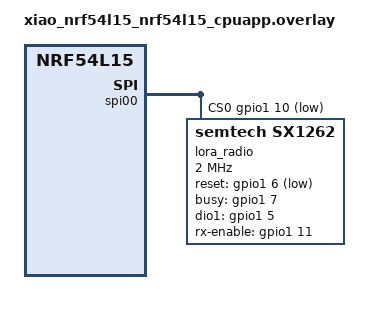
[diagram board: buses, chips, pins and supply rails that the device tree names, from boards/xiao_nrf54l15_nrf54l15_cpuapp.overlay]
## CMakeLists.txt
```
# SPDX-License-Identifier: Apache-2.0

cmake_minimum_required(VERSION 3.20.0)

find_package(Zephyr REQUIRED HINTS $ENV{ZEPHYR_BASE})
project(lora_secure_p2p)

#
# Board Role Configuration
# Set BOARD_ROLE at build time to select device role:
#   Numeric values:   -DBOARD_ROLE=1 (PING) or -DBOARD_ROLE=2 (PONG)
#   Symbolic names:   -DBOARD_ROLE=ROLE_PING or -DBOARD_ROLE=ROLE_PONG
#
# Without sysbuild: west build --no-sysbuild -d build_ping -- -DBOARD_ROLE=1
# With sysbuild:    west build -d build_ping -- -Dlora_secure_p2p_BOARD_ROLE=1
#
# Try to get from sysbuild namespace first (available after find_package)
if(SYSBUILD)
    zephyr_get(BOARD_ROLE SYSBUILD GLOBAL)
endif()

# Convert symbolic names to numeric values for preprocessor compatibility
if(DEFINED BOARD_ROLE AND NOT "${BOARD_ROLE}" STREQUAL "")
    # Convert symbolic role names to numeric values
    if(BOARD_ROLE STREQUAL "ROLE_PING")
        set(BOARD_ROLE_VALUE 1)
        set(BOARD_ROLE_NAME "PING")
    elseif(BOARD_ROLE STREQUAL "ROLE_PONG")
        set(BOARD_ROLE_VALUE 2)
        set(BOARD_ROLE_NAME "PONG")
    elseif(BOARD_ROLE STREQUAL "1")
        set(BOARD_ROLE_VALUE 1)
        set(BOARD_ROLE_NAME "PING")
    elseif(BOARD_ROLE STREQUAL "2")
        set(BOARD_ROLE_VALUE 2)
        set(BOARD_ROLE_NAME "PONG")
    else()
        message(FATAL_ERROR "Invalid BOARD_ROLE: ${BOARD_ROLE}. Must be ROLE_PING, ROLE_PONG, 1, or 2")
    endif()

    message(STATUS "Board role set to: ${BOARD_ROLE_NAME} (BOARD_ROLE=${BOARD_ROLE_VALUE})")
    add_compile_definitions(BOARD_ROLE=${BOARD_ROLE_VALUE})
else()
    message(STATUS "Board role not specified, using default from app_config.h (ROLE_PONG)")
endif()

# Main application
target_sources(app PRIVATE src/main.c)

# Crypto modules
target_sources(app PRIVATE
    src/crypto/crypto_init.c
    src/crypto/aes_ccm.c
    src/crypto/ecdh.c
    src/crypto/key_storage.c
)

# Protocol modules
target_sources(app PRIVATE
    src/protocol/message.c
    src/protocol/security.c
    src/protocol/statistics.c
)

# LoRa modules
target_sources(app PRIVATE
    src/lora/lora_hal.c
    src/lora/lora_transport.c
)

# Application modules
target_sources(app PRIVATE
    src/app/ping_mode.c
    src/app/pong_mode.c
)
```

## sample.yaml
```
sample:
  name: LoRa Secure P2P Communication
tests:
  sample.lora.secure_p2p:
    tags:
      - LoRa
      - SPI
      - crypto
    depends_on: spi gpio
    integration_platforms:
      - xiao_nrf54l15/nrf54l15/cpuapp
```

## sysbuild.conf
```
# Sysbuild Configuration for FOTA with MCUboot
# Project: LoRa P2P Encrypted Communication with FOTA
# Board: Seeed XIAO nRF54L15

# ==============================================================================
# MCUboot Bootloader Configuration
# ==============================================================================

# Enable MCUboot as the bootloader
SB_CONFIG_BOOTLOADER_MCUBOOT=y

# ==============================================================================
# nRF54L15-Specific Settings
# ==============================================================================

# CRITICAL: nRF54L15 requires larger MCUboot pad (0x800 instead of default 0x200)
# This is due to the RRAM sector size and alignment requirements
SB_CONFIG_PM_MCUBOOT_PAD=0x800

# ==============================================================================
# Signature Verification with Hardware KMU
# ==============================================================================

# Use ED25519 signature algorithm (ECC, smaller signatures than RSA)
SB_CONFIG_BOOT_SIGNATURE_TYPE_ED25519=y

# Use pure signature format (not ECDSA)
SB_CONFIG_BOOT_SIGNATURE_TYPE_PURE=y

# Enable KMU (Key Management Unit) for hardware-based signature verification
# The public key will be stored in the hardware KMU for secure boot
SB_CONFIG_MCUBOOT_SIGNATURE_USING_KMU=y

# ==============================================================================
# Image Signing Configuration
# ==============================================================================

# Path to signing key (relative to this project directory)
# Generate your own key:  imgtool keygen -k mcuboot_signing_key.pem -t ed25519
SB_CONFIG_BOOT_SIGNATURE_KEY_FILE="mcuboot_signing_key.pem"

# ==============================================================================
# Automatic KMU Keyfile Generation
# ==============================================================================

# ⚠️ IMPORTANT: This generates keyfile.json but does NOT auto-provision KMU!
#
# What this config does:
#   ✅ Auto-generates build_ping/keyfile.json from mcuboot_signing_key.pem
#   ❌ Does NOT automatically provision KMU (requires separate step)
#
# Why: The `--recover` flag only works with nrfjprog runner (J-Link hardware).
# The Seeed XIAO nRF54L15 uses CMSIS-DAP, not J-Link.
#
# KMU Provisioning Options:
#   1. Test nrfutil with CMSIS-DAP (experimental - see FOTA_SETUP.md)
#   2. Use J-Link probe for provisioning (Nordic-tested method)
#   3. Use Tigard debugger (requires OpenOCD, limited UICR support)

# Enable automatic KMU keyfile generation during build
SB_CONFIG_MCUBOOT_GENERATE_DEFAULT_KMU_KEYFILE=y

# ==============================================================================
# MCUboot Partition Size
# ==============================================================================

# Note: MCUboot partition size (64KB at 0x0) is defined in device tree
# (xiao_nrf54l15_nrf54l15_cpuapp.dts), no additional configuration needed here

# ==============================================================================
# Optional: Advanced Features (Commented out by default)
# ==============================================================================

# Uncomment to enable key revocation (prevents using compromised keys)
# SB_CONFIG_BOOT_KMU_KEYS_REVOCATION=y

# Uncomment to use external flash for secondary image slot
# SB_CONFIG_PM_EXTERNAL_FLASH_MCUBOOT_SECONDARY=y

# Uncomment for MCUboot direct-xip mode (no swap, faster boot)
# Note: Cannot use with image encryption
# SB_CONFIG_MCUBOOT_MODE_DIRECT_XIP=y

# Uncomment for hardware downgrade prevention (monotonic counter)
# SB_CONFIG_MCUBOOT_HW_DOWNGRADE_PREVENTION=y
# SB_CONFIG_MCUBOOT_HW_DOWNGRADE_PREVENTION_COUNTER_SLOTS=2
# SB_CONFIG_MCUBOOT_HW_DOWNGRADE_PREVENTION_COUNTER_VALUE=1
```

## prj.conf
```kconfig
# GPIO Configuration
CONFIG_GPIO=y

# SPI Configuration - Core Support
CONFIG_SPI=y
CONFIG_SPI_NRFX=y
CONFIG_SPI_INIT_PRIORITY=70

# EasyDMA requires RAM buffers (flash-based buffers won't work)
# SPI_NRFX_SPIM and NRFX_SPIM00 are automatically selected based on device tree
CONFIG_SPI_NRFX_RAM_BUFFER_SIZE=256

# LoRa Driver Support - Semtech SX126x family
CONFIG_LORA=y
CONFIG_LORA_SX126X=y

# Logging Configuration
CONFIG_LOG=y
CONFIG_LOG_MODE_IMMEDIATE=y
CONFIG_PRINTK=y
CONFIG_CONSOLE=y

# UART/USB Serial Console Configuration (default for terminal logging)
CONFIG_LOG_BACKEND_UART=y
CONFIG_UART_CONSOLE=y

# Disable RTT by default so logs are visible in a serial terminal.
# Re-enable these for J-Link RTT debugging if needed.
CONFIG_USE_SEGGER_RTT=n
CONFIG_RTT_CONSOLE=n
CONFIG_LOG_BACKEND_RTT=n

# Production logging levels (INFO for important events, WARNING for errors)
# For verbose debug logging, build with: west build ... -- -DEXTRA_CONF_FILE=debug.conf
CONFIG_SPI_LOG_LEVEL_INF=y
CONFIG_LORA_LOG_LEVEL_INF=y
CONFIG_GPIO_LOG_LEVEL_WRN=y

# Enhanced debugging configuration
# Note: LOG_BUFFER_SIZE only applies to LOG_MODE_DEFERRED, not LOG_MODE_IMMEDIATE
# Note: DIO1 interrupt mode is automatically enabled by driver when dio1-gpios is present in devicetree

# Shell is debug-only; enabled in debug.conf to reduce production attack surface.

# Kernel Configuration - Increased for LoRa driver interrupt handling
CONFIG_HEAP_MEM_POOL_SIZE=4096
# Main stack size: 8192 bytes required for PSA Crypto ECDH + HKDF operations
# Based on Nordic nRF Connect SDK v2.8.0+ recommendations for nRF54L15
# CRACEN hardware acceleration requires significant stack during key derivation
CONFIG_MAIN_STACK_SIZE=8192

# System workqueue stack size - CRITICAL for LoRa DIO1 interrupt processing
# Default is too small, causes stack overflow when handling SX1262 interrupts
CONFIG_SYSTEM_WORKQUEUE_STACK_SIZE=2048

# Random Number Generator - Required for jitter functionality
# nRF54L15 uses CRACEN-based RNG, configured automatically via devicetree
# The PSA crypto RNG driver (CONFIG_ENTROPY_PSA_CRYPTO_RNG) is auto-enabled
CONFIG_ENTROPY_GENERATOR=y

# ============================================================================
# PSA Crypto API & Hardware Acceleration (Phase 1: AES-CCM Foundation)
# ============================================================================

# Nordic Security Backend - Provides PSA Crypto API implementation
CONFIG_NRF_SECURITY=y
CONFIG_MBEDTLS_PSA_CRYPTO_C=y

# Heap Configuration for mbedTLS (required for PSA operations)
CONFIG_MBEDTLS_ENABLE_HEAP=y
CONFIG_MBEDTLS_HEAP_SIZE=16384

# CRACEN Hardware Crypto Accelerator (nRF54L15 only)
# Provides ~10-15x performance improvement vs software crypto
CONFIG_PSA_CRYPTO_DRIVER_CRACEN=y
CONFIG_PSA_CRYPTO_DRIVER_OBERON=n  # Disable software fallback for debugging

# AES Algorithm Support (Authenticated Encryption with Associated Data)
CONFIG_PSA_WANT_KEY_TYPE_AES=y
CONFIG_PSA_WANT_ALG_CCM=y           # AES-CCM mode (encryption + authentication)
CONFIG_PSA_WANT_AES_KEY_SIZE_128=y  # 128-bit keys

# Random Number Generation for Cryptographic Operations
CONFIG_PSA_WANT_GENERATE_RANDOM=y

# ============================================================================
# Phase 2: Elliptic Curve Cryptography (ECC) for ECDH Key Exchange
# ============================================================================

# ECC Key Types and Algorithms
CONFIG_PSA_WANT_KEY_TYPE_ECC_KEY_PAIR_GENERATE=y
CONFIG_PSA_WANT_KEY_TYPE_ECC_KEY_PAIR_IMPORT=y
CONFIG_PSA_WANT_KEY_TYPE_ECC_KEY_PAIR_EXPORT=y
CONFIG_PSA_WANT_KEY_TYPE_ECC_PUBLIC_KEY=y
CONFIG_PSA_WANT_ALG_ECDH=y

# Curve25519 (Montgomery curve for X25519 ECDH)
CONFIG_PSA_WANT_ECC_MONTGOMERY_255=y

# Key Derivation Function (for deriving session keys from shared secret)
CONFIG_PSA_WANT_ALG_HMAC=y      # Required by HKDF
CONFIG_PSA_WANT_ALG_HKDF=y
CONFIG_PSA_WANT_ALG_SHA_256=y   # Required by HKDF

# ============================================================================
# Phase 3: KMU (Key Management Unit) and Persistent Key Storage
# ============================================================================

# Persistent Key Storage
CONFIG_MBEDTLS_PSA_CRYPTO_STORAGE_C=y

# Trusted Storage (Internal Trusted Storage)
CONFIG_TRUSTED_STORAGE=y
CONFIG_PSA_INTERNAL_TRUSTED_STORAGE=y

# Hardware Unique Key (HUK) for key encryption
CONFIG_HW_UNIQUE_KEY=y
CONFIG_HW_UNIQUE_KEY_RANDOM=y

# Settings Subsystem (for persistent data)
CONFIG_SETTINGS=y
CONFIG_ZMS=y           # Enable ZMS subsystem (required by SETTINGS_ZMS)
CONFIG_SETTINGS_ZMS=y  # Zephyr Memory Storage (for nRF54L15)

# Flash Support (required for persistent storage)
CONFIG_FLASH=y
CONFIG_FLASH_MAP=y

# KMU Configuration (Key Management Unit hardware)
CONFIG_CRACEN_LIB_KMU=y
CONFIG_CRACEN_PROVISION_PROT_RAM_INV_DATA=y
CONFIG_CRACEN_IKG=y
CONFIG_CRACEN_IKG_SEED_LOAD=y

# Note: Persistent keys will be stored with HUK encryption for security

# ============================================================================
# MCUboot Bootloader Support (for FOTA Updates)
# ============================================================================

# MCUboot compatibility marker - signals that this app is designed to run with MCUboot
# ⚠️ IMPORTANT: Comment this out when building without MCUboot (--no-sysbuild)
# CONFIG_BOOTLOADER_MCUBOOT=y

# Note: Two build modes are supported:
#
# 1. WITH MCUboot + FOTA (requires J-Link for KMU provisioning):
#    - Uncomment CONFIG_BOOTLOADER_MCUBOOT=y above
#    - Build command: west build ... -DEXTRA_CONF_FILE="overlay-bt-dfu.conf"
#    - See FOTA_SETUP.md for KMU provisioning instructions
#
# 2. WITHOUT MCUboot (no FOTA, works with CMSIS-DAP):
#    - Keep CONFIG_BOOTLOADER_MCUBOOT=y commented out (as shown above)
#    - Build command: west build --no-sysbuild ... -DEXTRA_CONF_FILE="overlay-bt-no-fota.conf"
#    - See Build_&_Flash.md for build/flash instructions
```

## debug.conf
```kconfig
# Debug Mode Configuration
# ===========================
# This file enables verbose debug logging for troubleshooting.
#
# To build with debug mode:
#   west build -b seeed_xiao_nrf54l15/nrf54l15/cpuapp . -- -DEXTRA_CONF_FILE=debug.conf
#   west flash
#
# To return to production mode (fast, clean logs):
#   west build -b seeed_xiao_nrf54l15/nrf54l15/cpuapp .
#   west flash

# Enable verbose debug logging for all LoRa-related subsystems
CONFIG_SPI_LOG_LEVEL_DBG=y
CONFIG_LORA_LOG_LEVEL_DBG=y
CONFIG_GPIO_LOG_LEVEL_DBG=y

# Enable application-level debug monitoring features
# This activates DIO1 interrupt counting, BUSY pin monitoring, and timing measurements
# CONFIG_LORA_DEBUG_MONITORING is only valid if provided by the active LoRa driver Kconfig.

# Debug shell interfaces
CONFIG_SHELL=y
CONFIG_LORA_SHELL=y
CONFIG_DEVICE_SHELL=y
```

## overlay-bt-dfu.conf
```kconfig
# Bluetooth + FOTA Overlay Configuration
# Project: LoRa P2P Encrypted Communication with FOTA
# Board: Seeed XIAO nRF54L15
#
# This overlay adds Bluetooth Low Energy and FOTA capabilities to the application.
# Use this overlay when building firmware that supports over-the-air updates.

# ==============================================================================
# Bluetooth Core Configuration
# ==============================================================================

CONFIG_BT=y
CONFIG_BT_PERIPHERAL=y

# Device name shown during Bluetooth scanning
CONFIG_BT_DEVICE_NAME="LoRa_P2P_FOTA"

# Allow device name to be readable without pairing
CONFIG_BT_DEVICE_NAME_GATT_WRITABLE=n

# ==============================================================================
# Nordic MCUmgr BT OTA DFU Module (Quick Start)
# ==============================================================================

# This single option enables a complete FOTA solution including:
# - SMP (Simple Management Protocol) over Bluetooth
# - Image management handlers
# - OS management handlers (reboot)
# - Settings partition erase
# - Optimized Bluetooth buffers for fast transfer
CONFIG_NCS_SAMPLE_MCUMGR_BT_OTA_DFU=y

# Enable speedup optimizations (larger Bluetooth packets, faster FOTA)
CONFIG_NCS_SAMPLE_MCUMGR_BT_OTA_DFU_SPEEDUP=y

# ==============================================================================
# Security: Require Authentication for SMP Access
# ==============================================================================

# IMPORTANT: Require Bluetooth pairing before allowing FOTA updates
# Without this, anyone can flash firmware to your device over Bluetooth!
CONFIG_MCUMGR_TRANSPORT_BT_PERM_RW_AUTHEN=y

# Enable pairing/bonding support
CONFIG_BT_SMP=y
CONFIG_BT_BONDABLE=y

# NOTE: Security level (1-4) is set at RUNTIME via bt_conn_set_security()
#       There is no Kconfig option for default security level.
#       Your application can call bt_conn_set_security(conn, BT_SECURITY_L3)
#       to require authenticated pairing with encryption.

# ==============================================================================
# Stack Size Adjustments for BT + MCUmgr + LoRa
# ==============================================================================

# Increase main thread stack (Bluetooth + LoRa + Crypto operations)
CONFIG_MAIN_STACK_SIZE=8192

# Increase system workqueue stack (MCUmgr operations + BT events)
CONFIG_SYSTEM_WORKQUEUE_STACK_SIZE=4096

# Increase idle stack for cleanup operations
CONFIG_IDLE_STACK_SIZE=1024

# ==============================================================================
# Bluetooth Connection Parameters (Optional - Defaults are Good)
# ==============================================================================

# NOTE: These parameters are connection interval preferences.
#       Values are in 1.25ms units (e.g., 6 = 7.5ms, 40 = 50ms)
#       Zephyr defaults: min=24 (30ms), max=40 (50ms), latency=0, timeout=42 (420ms)
#       Faster intervals = faster FOTA but higher power consumption.

# Uncomment for faster connection intervals (7.5ms - 15ms):
# CONFIG_BT_PERIPHERAL_PREF_MIN_INT=6
# CONFIG_BT_PERIPHERAL_PREF_MAX_INT=12
# CONFIG_BT_PERIPHERAL_PREF_LATENCY=0
# CONFIG_BT_PERIPHERAL_PREF_TIMEOUT=40

# ==============================================================================
# Bluetooth Advertising
# ==============================================================================

# NOTE: Advertising is automatically enabled when CONFIG_BT_PERIPHERAL=y
#       Advertising intervals are set at RUNTIME via bt_le_adv_start()
#       There are NO Kconfig options for advertising intervals.

# ==============================================================================
# Memory Optimization
# ==============================================================================

# Optimize heap size for BT + MCUmgr
CONFIG_HEAP_MEM_POOL_SIZE=16384

# Number of Bluetooth connections (1 for FOTA client)
CONFIG_BT_MAX_CONN=1

# ==============================================================================
# Optional: MCUmgr Shell Transport (Commented out by default)
# ==============================================================================

# Uncomment to enable FOTA over shell/UART (for debugging)
# CONFIG_MCUMGR_TRANSPORT_SHELL=y

# ==============================================================================
# Logging Adjustments
# ==============================================================================

# Reduce Bluetooth log spam (keep warnings and errors only)
CONFIG_BT_LOG_LEVEL_WRN=y

# Enable MCUmgr logging for debugging FOTA issues
CONFIG_MCUMGR_LOG_LEVEL_INF=y

# ==============================================================================
# Settings Storage (Already configured in main prj.conf)
# ==============================================================================

# Settings are required for MCUmgr to work properly
# Your project already has CONFIG_SETTINGS=y and CONFIG_ZMS=y
# No additional configuration needed here
```

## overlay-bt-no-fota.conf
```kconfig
# Bluetooth Overlay Configuration (Without FOTA)
# Project: LoRa P2P Encrypted Communication
# Board: Seeed XIAO nRF54L15
#
# This overlay adds Bluetooth Low Energy WITHOUT FOTA/MCUboot support.
# Use this for immediate testing when J-Link hardware is not available.
#
# Build command: west build --no-sysbuild ... -DEXTRA_CONF_FILE="overlay-bt-no-fota.conf"

# ==============================================================================
# Bluetooth Core Configuration
# ==============================================================================

CONFIG_BT=y
CONFIG_BT_PERIPHERAL=y

# Device name shown during Bluetooth scanning
CONFIG_BT_DEVICE_NAME="LoRa_P2P"

# Allow device name to be readable without pairing
CONFIG_BT_DEVICE_NAME_GATT_WRITABLE=n

# ==============================================================================
# Security: Pairing and Bonding Support
# ==============================================================================

# Enable pairing/bonding support for secure connections
CONFIG_BT_SMP=y
CONFIG_BT_BONDABLE=y

# NOTE: Security level (1-4) is set at RUNTIME via bt_conn_set_security()
#       Your application can call bt_conn_set_security(conn, BT_SECURITY_L3)
#       to require authenticated pairing with encryption.

# ==============================================================================
# Stack Size Adjustments for BT + LoRa + Crypto
# ==============================================================================

# Increase main thread stack (Bluetooth + LoRa + Crypto operations)
# Already set in prj.conf to 8192, but we override here for clarity
CONFIG_MAIN_STACK_SIZE=8192

# Increase system workqueue stack (BT events + LoRa DIO1 interrupts)
CONFIG_SYSTEM_WORKQUEUE_STACK_SIZE=4096

# Increase idle stack for cleanup operations
CONFIG_IDLE_STACK_SIZE=1024

# ==============================================================================
# Memory Optimization
# ==============================================================================

# Optimize heap size for BT + LoRa + Crypto
CONFIG_HEAP_MEM_POOL_SIZE=16384

# Number of Bluetooth connections (1 for testing with phone)
CONFIG_BT_MAX_CONN=1

# ==============================================================================
# Bluetooth Connection Parameters (Optional - Defaults are Good)
# ==============================================================================

# NOTE: These parameters are connection interval preferences.
#       Values are in 1.25ms units (e.g., 6 = 7.5ms, 40 = 50ms)
#       Zephyr defaults: min=24 (30ms), max=40 (50ms), latency=0, timeout=42 (420ms)

# Uncomment for faster connection intervals (7.5ms - 15ms):
# CONFIG_BT_PERIPHERAL_PREF_MIN_INT=6
# CONFIG_BT_PERIPHERAL_PREF_MAX_INT=12
# CONFIG_BT_PERIPHERAL_PREF_LATENCY=0
# CONFIG_BT_PERIPHERAL_PREF_TIMEOUT=40

# ==============================================================================
# Bluetooth Advertising
# ==============================================================================

# NOTE: Advertising is automatically enabled when CONFIG_BT_PERIPHERAL=y
#       Advertising intervals are set at RUNTIME via bt_le_adv_start()
#       There are NO Kconfig options for advertising intervals.

# ==============================================================================
# Logging Adjustments
# ==============================================================================

# Reduce Bluetooth log spam (keep warnings and errors only)
CONFIG_BT_LOG_LEVEL_WRN=y

# ==============================================================================
# What's NOT Included (Compared to overlay-bt-dfu.conf)
# ==============================================================================
#
# This overlay does NOT include:
# - MCUmgr (Simple Management Protocol)
# - FOTA/DFU support
# - CONFIG_NCS_SAMPLE_MCUMGR_BT_OTA_DFU
# - Image management
#
# These features require MCUboot bootloader and KMU provisioning (J-Link).
# Use overlay-bt-dfu.conf when J-Link hardware is available.
#
# ==============================================================================
```

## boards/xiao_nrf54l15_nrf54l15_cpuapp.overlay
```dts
/*
 * XIAO nRF54L15 + Wio-SX1262 Device Tree Overlay
 * SX1262 LoRa transceiver configuration for point-to-point communication
 *
 * Hardware Connection:
 * - SPI00: D8/P2.1 (SCK), D9/P2.4 (MISO), D10/P2.2 (MOSI)
 * - CS: D4/P1.10 (NSS)
 * - RESET: D2/P1.06 (NRST)
 * - BUSY: D3/P1.07 (BUSY)
 * - DIO1: D1/P1.05 (DIO1 interrupt)
 * - DIO2: Internal SX1262 RF switch (automatic, high during TX)
 * - RF_SW: D5/P1.11 (External module RF switch, high during RX)
 * - DIO3: TCXO power supply (1.8V)
 *
 * Pin Conflicts Resolved:
 * - I2C22 disabled (conflicts with CS/P1.10 and RF_SW/P1.11)
 */
#include <zephyr/dt-bindings/lora/sx126x.h>
/ {
    aliases {
        lora0 = &lora_radio;
    };
    chosen {
        zephyr,settings-partition = &storage_partition;
    };
};
/* Configure NFC pins (P1.02, P1.03) as GPIO - replaces deprecated CONFIG_NFCT_PINS_AS_GPIOS */
&uicr {
    nfct-pins-as-gpios;
};
/* Disable I2C22 - pin conflicts with CS (P1.10) and RF_SW (P1.11) */
&i2c22 {
    status = "disabled";
};
/* Enable SPI00 - XIAO SPI interface on Port 2 pins */
&spi00 {
    compatible = "nordic,nrf-spim";
    status = "okay";
    /* SPI pinctrl defined in xiao_nrf54l15-pinctrl.dtsi with high drive strength */
    pinctrl-0 = <&spi00_default>;
    pinctrl-1 = <&spi00_sleep>;
    pinctrl-names = "default", "sleep";
    /* CS controlled manually via GPIO (SPIM doesn't auto-control CS) */
    cs-gpios = <&gpio1 10 GPIO_ACTIVE_LOW>;  /* D4 / P1.10 - NSS */
    lora_radio: sx1262@0 {
        compatible = "semtech,sx1262";
        reg = <0>;
        status = "okay";
        /* SPI configuration - Start at 2 MHz for reliability */
        spi-max-frequency = <2000000>;
        /* Required GPIO pins from Wio-SX1262 shield */
        reset-gpios = <&gpio1 6 GPIO_ACTIVE_LOW>;     /* D2 / P1.06 - NRST */
        busy-gpios = <&gpio1 7 GPIO_ACTIVE_HIGH>;     /* D3 / P1.07 - BUSY */
        dio1-gpios = <&gpio1 5 (GPIO_PULL_DOWN | GPIO_ACTIVE_HIGH)>; /* D1 / P1.05 - DIO1 */
        /* RF switch control (PE4259 SPDT switch in complementary mode)
         * DIO2 → CTRL (pin 4): SX1262 drives HIGH during TX automatically
         * RF_SW → /CTRL (pin 6): MCU must drive HIGH during RX to enable receive path
         *
         * TX: DIO2=HIGH, RF_SW=LOW  → RFC routes to TX path
         * RX: DIO2=LOW,  RF_SW=HIGH → RFC routes to RX path
         */
        dio2-tx-enable;
        rx-enable-gpios = <&gpio1 11 GPIO_ACTIVE_HIGH>;  /* D5 / P1.11 - RF_SW */
        /* TCXO configuration for Wio-SX1262
         * Module has built-in 1.8V TCXO controlled via DIO3
         * 5ms startup delay for TCXO stabilization
         */
        dio3-tcxo-voltage = <SX126X_DIO3_TCXO_1V8>;
        tcxo-power-startup-delay-ms = <5>;
    };
};
```

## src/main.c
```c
/**
 * @file main.c
 * @brief LoRa Encrypted P2P Communication - Main Application
 *
 * XIAO nRF54L15 + Wio-SX1262 (US 915 MHz)
 * Refactored architecture with modular design for maintainability and scalability
 *
 * Board Role: Set via BOARD_ROLE in app_config.h or CMake build flag
 * - ROLE_PING: Initiator - sends pings, measures RTT
 * - ROLE_PONG: Responder - receives pings, sends pongs
 */

#include "app_config.h"
#include "crypto/crypto_init.h"
#include "crypto/aes_ccm.h"
#include "crypto/ecdh.h"
#include "crypto/key_storage.h"
#include "protocol/message.h"
#include "protocol/security.h"
#include "protocol/statistics.h"
#include "lora/lora_hal.h"
#include "lora/lora_transport.h"
#include "app/ping_mode.h"
#include "app/pong_mode.h"

LOG_MODULE_REGISTER(main, LOG_LEVEL_INF);

/* Global contexts */
static struct crypto_context crypto_ctx;
static struct ecdh_context ecdh_ctx;
static struct peer_state peer;
static struct statistics stats;
static struct app_context app_ctx;

#if ENABLE_ECDH_KEY_EXCHANGE
/**
 * @brief Perform ECDH key exchange with peer device
 *
 * @param lora_dev LoRa device handle
 * @return APP_OK on success
 * @return APP_ERR_* on failure
 */
static int perform_key_exchange(const struct device *lora_dev)
{
	struct key_exchange_message kex_msg;
	int ret;
	int16_t rssi;
	int8_t snr;

	LOG_INF("==================================================");
	LOG_INF("  ECDH KEY EXCHANGE (X25519 + HKDF-SHA256)");
#if ENABLE_PSK_AUTHENTICATION
	LOG_INF("  WITH PSK AUTHENTICATION (MITM PROTECTION)");
#else
	LOG_WRN("  NO AUTHENTICATION - VULNERABLE TO MITM!");
#endif
	LOG_INF("==================================================");
	LOG_INF("");

#if BOARD_ROLE == ROLE_PING
	/* PING: Announce our public key */
	LOG_INF("PING: Waiting 3 seconds to allow PONG to enter RX mode...");
	k_sleep(K_SECONDS(3));

	LOG_INF("PING: Announcing public key...");

	ret = message_create_key_exchange(&ecdh_ctx, MSG_TYPE_KEY_ANNOUNCE,
	                                  crypto_ctx.local_device_id, &kex_msg);
	if (ret != APP_OK) {
		LOG_ERR("Failed to create key exchange message: %d", ret);
		return ret;
	}

	ret = lora_transport_send(lora_dev, (uint8_t *)&kex_msg, sizeof(kex_msg));
	if (ret != APP_OK) {
		LOG_ERR("Failed to send KEY_ANNOUNCE: %d", ret);
		return ret;
	}

	LOG_INF("  KEY_ANNOUNCE sent (%u bytes)", sizeof(kex_msg));

	/* Wait for KEY_ACK from PONG */
	LOG_INF("  Waiting for KEY_ACK from peer...");

	ret = lora_transport_recv(lora_dev, (uint8_t *)&kex_msg, sizeof(kex_msg),
	                         K_MSEC(KEY_EXCHANGE_TIMEOUT_MS), &rssi, &snr);
	if (ret < 0) {
		LOG_ERR("Failed to receive KEY_ACK: %d", ret);
		return ret;
	}
	if (ret != (int)sizeof(kex_msg)) {
		LOG_ERR("Invalid KEY_ACK length: %d (expected %zu)", ret, sizeof(kex_msg));
		return APP_ERR_PROTOCOL_INVALID_MSG;
	}

	if (kex_msg.type != MSG_TYPE_KEY_ACK) {
		LOG_ERR("Expected KEY_ACK, got type 0x%02X", kex_msg.type);
		return APP_ERR_PROTOCOL_INVALID_TYPE;
	}

	LOG_INF("  KEY_ACK received from device 0x%04X", kex_msg.sender_id);

	ret = message_parse_key_exchange(&ecdh_ctx, &kex_msg);
	if (ret != APP_OK) {
		LOG_ERR("Key exchange validation failed: %d", ret);
		return ret;
	}

	/* Store peer's public key and derive session key */
	ret = ecdh_set_peer_public_key(&ecdh_ctx, kex_msg.public_key);
	if (ret != APP_OK) {
		return ret;
	}

	ret = ecdh_derive_session_key(&ecdh_ctx);
	if (ret != APP_OK) {
		return ret;
	}

#else /* ROLE_PONG */
	/* PONG: Wait for KEY_ANNOUNCE */
	LOG_INF("PONG: Listening for KEY_ANNOUNCE...");

	k_sleep(K_MSEC(100));  /* Small delay to ensure RX mode is active */
	LOG_INF("  RX mode active, waiting for packet...");

	ret = lora_transport_recv(lora_dev, (uint8_t *)&kex_msg, sizeof(kex_msg),
	                         K_MSEC(30000), &rssi, &snr);
	if (ret < 0) {
		LOG_ERR("Failed to receive KEY_ANNOUNCE: %d", ret);
		return ret;
	}
	if (ret != (int)sizeof(kex_msg)) {
		LOG_ERR("Invalid KEY_ANNOUNCE length: %d (expected %zu)", ret, sizeof(kex_msg));
		return APP_ERR_PROTOCOL_INVALID_MSG;
	}

	if (kex_msg.type != MSG_TYPE_KEY_ANNOUNCE) {
		LOG_ERR("Expected KEY_ANNOUNCE, got type 0x%02X", kex_msg.type);
		return APP_ERR_PROTOCOL_INVALID_TYPE;
	}

	LOG_INF("  KEY_ANNOUNCE received from device 0x%04X", kex_msg.sender_id);

	ret = message_parse_key_exchange(&ecdh_ctx, &kex_msg);
	if (ret != APP_OK) {
		LOG_ERR("Key exchange validation failed: %d", ret);
		return ret;
	}

	/* Store peer's public key and derive session key */
	ret = ecdh_set_peer_public_key(&ecdh_ctx, kex_msg.public_key);
	if (ret != APP_OK) {
		return ret;
	}

	ret = ecdh_derive_session_key(&ecdh_ctx);
	if (ret != APP_OK) {
		return ret;
	}

	/* Send KEY_ACK with our public key */
	LOG_INF("  Sending KEY_ACK...");

	ret = message_create_key_exchange(&ecdh_ctx, MSG_TYPE_KEY_ACK,
	                                  crypto_ctx.local_device_id, &kex_msg);
	if (ret != APP_OK) {
		LOG_ERR("Failed to create KEY_ACK: %d", ret);
		return ret;
	}

	ret = lora_transport_send(lora_dev, (uint8_t *)&kex_msg, sizeof(kex_msg));
	if (ret != APP_OK) {
		LOG_ERR("Failed to send KEY_ACK: %d", ret);
		return ret;
	}

	LOG_INF("  KEY_ACK sent (%u bytes)", sizeof(kex_msg));
#endif

	/* Get session key handle and set it in crypto context */
	psa_key_id_t session_key_handle;
	ret = ecdh_get_session_key_handle(&ecdh_ctx, &session_key_handle);
	if (ret != APP_OK) {
		LOG_ERR("Failed to get session key: %d", ret);
		return ret;
	}

	ret = crypto_set_session_key(&crypto_ctx, session_key_handle);
	if (ret != APP_OK) {
		LOG_ERR("Failed to set session key: %d", ret);
		return ret;
	}

	/*
	 * Session key handle is now owned by crypto_ctx.
	 * Drop ECDH private key and auth PSK to reduce key exposure in memory.
	 */
	ret = ecdh_cleanup_exchange_material(&ecdh_ctx);
	if (ret != APP_OK) {
		LOG_ERR("Failed to cleanup ECDH exchange material: %d", ret);
		return ret;
	}

	LOG_INF("");
	LOG_INF("Key exchange complete!");
	LOG_INF("  ECDH shared secret computed");
	LOG_INF("  Session key derived (AES-128)");
#if ENABLE_PSK_AUTHENTICATION
	LOG_INF("  Peer authenticated via HMAC-SHA256");
#endif
	LOG_INF("==================================================");
	LOG_INF("");

	return APP_OK;
}
#endif /* ENABLE_ECDH_KEY_EXCHANGE */

int main(void)
{
	int ret;
	const struct device *lora_dev = DEFAULT_RADIO;

	/* Display banner */
	LOG_INF("===========================================");
	LOG_INF("  LoRa Encrypted P2P Communication");
	LOG_INF("  XIAO nRF54L15 + Wio-SX1262");
#if BOARD_ROLE == ROLE_PING
	LOG_INF("  Mode: PING (Initiator)");
	const uint16_t local_device_id = DEVICE_ID_PING;
	const uint16_t peer_device_id = DEVICE_ID_PONG;
#else
	LOG_INF("  Mode: PONG (Responder)");
	const uint16_t local_device_id = DEVICE_ID_PONG;
	const uint16_t peer_device_id = DEVICE_ID_PING;
#endif
	LOG_INF("  Device ID: 0x%04X", local_device_id);
	LOG_INF("  Peer ID: 0x%04X", peer_device_id);
	LOG_INF("  Frequency: 915 MHz (US Band)");
	LOG_INF("  Power: +%d dBm", LORA_TX_POWER);
	LOG_INF("  Encryption: AES-128-CCM (CRACEN accelerated)");
	LOG_INF("===========================================");
	LOG_INF("");

	/* Initialize crypto subsystem */
	LOG_INF("Initializing cryptography...");
	ret = crypto_init();
	if (ret != APP_OK) {
		LOG_ERR("Crypto initialization failed: %d", ret);
		return ret;
	}

	/* Initialize crypto context */
	crypto_context_init(&crypto_ctx, local_device_id);

	/* Initialize peer state */
	security_peer_init(&peer, peer_device_id);

	/* Initialize statistics */
	statistics_init(&stats);

#if ENABLE_ECDH_KEY_EXCHANGE
	/* Initialize ECDH context and generate keypair */
	ecdh_context_init(&ecdh_ctx);

	ret = ecdh_generate_keypair(&ecdh_ctx);
	if (ret != APP_OK) {
		LOG_ERR("Keypair generation failed: %d", ret);
		return ret;
	}
	LOG_INF("");

#if ENABLE_PSK_AUTHENTICATION
	/* Import authentication PSK for MITM protection */
	static const uint8_t auth_psk[HMAC_KEY_SIZE_BYTES] = APP_AUTH_PSK_BYTES;
#if defined(APP_AUTH_PSK_IS_DEFAULT_TEST_KEY)
	LOG_WRN("*** USING DEFAULT HARD-CODED TEST PSK ***");
	LOG_WRN("*** FOR LAB TESTING ONLY - NOT FOR PRODUCTION ***");
#else
	LOG_INF("Using externally provisioned authentication PSK");
#endif

	ret = ecdh_import_auth_psk(&ecdh_ctx, auth_psk, sizeof(auth_psk));
	if (ret != APP_OK) {
		LOG_ERR("Auth PSK import failed: %d", ret);
		return ret;
	}
	LOG_INF("");
#endif
#endif /* ENABLE_ECDH_KEY_EXCHANGE */

	/* Initialize LoRa hardware */
	ret = lora_hal_init(lora_dev);
	if (ret != APP_OK) {
		LOG_ERR("LoRa initialization failed: %d", ret);
		return ret;
	}
	LOG_INF("");

#if ENABLE_ECDH_KEY_EXCHANGE
	/* Perform ECDH key exchange with retry logic */
	for (int attempt = 1; attempt <= KEY_EXCHANGE_MAX_RETRIES; attempt++) {
		LOG_INF("Key exchange attempt %d/%d...", attempt, KEY_EXCHANGE_MAX_RETRIES);
		LOG_INF("");

		ret = perform_key_exchange(lora_dev);
		if (ret == APP_OK) {
			LOG_INF("Key exchange successful!");
			break;
		}

		LOG_WRN("Key exchange failed: %d", ret);
		if (attempt < KEY_EXCHANGE_MAX_RETRIES) {
			LOG_INF("Retrying in 2 seconds...");
			LOG_INF("");
			k_sleep(K_SECONDS(2));
		}
	}

	if (ret != APP_OK) {
		LOG_ERR("Key exchange failed after %d attempts", KEY_EXCHANGE_MAX_RETRIES);
		return ret;
	}

	/* Small delay before starting ping/pong */
	k_sleep(K_MSEC(500));
#endif

	/* Setup application context */
	app_ctx.lora_dev = lora_dev;
	app_ctx.crypto_ctx = &crypto_ctx;
	app_ctx.peer = &peer;
	app_ctx.stats = &stats;
	app_ctx.device_id = local_device_id;

	/* Run appropriate mode */
#if BOARD_ROLE == ROLE_PING
	ret = ping_mode_run(&app_ctx);
#else
	ret = pong_mode_run(&app_ctx);
#endif

	if (ret != APP_OK) {
		LOG_ERR("Application mode failed: %d", ret);
	}

	/* Test session is complete; destroy remaining key material. */
#if ENABLE_ECDH_KEY_EXCHANGE
	(void)ecdh_cleanup(&ecdh_ctx);
#endif

	/* Test complete - enter idle loop */
	LOG_INF("Test complete. System idle.");
	while (1) {
		k_sleep(K_FOREVER);
	}

	return 0;
}
```

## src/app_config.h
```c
/**
 * @file app_config.h
 * @brief Central configuration and common definitions for LoRa P2P Secure Communication
 *
 * This header provides:
 * - Application-wide configuration constants
 * - Error code definitions
 * - Board role definitions
 * - Common includes
 * - Feature flags
 *
 * @note This file should be included by all source files in the project
 */

#ifndef APP_CONFIG_H
#define APP_CONFIG_H

#include <zephyr/kernel.h>
#include <zephyr/device.h>
#include <zephyr/logging/log.h>
#include <psa/crypto.h>
#include <psa/crypto_extra.h>

/* ============================================================================
 * Error Code Definitions
 * ============================================================================ */

/**
 * @brief Application error codes
 *
 * All functions return 0 on success, negative values on error.
 * Error codes are organized by subsystem for easier debugging.
 */
typedef enum {
	/* Success */
	APP_OK = 0,

	/* Generic errors (-1 to -99) */
	APP_ERR_GENERIC = -1,
	APP_ERR_INVALID_PARAM = -2,
	APP_ERR_NULL_POINTER = -3,
	APP_ERR_TIMEOUT = -4,
	APP_ERR_NOT_READY = -5,

	/* Cryptography errors (-1000 to -1099) */
	APP_ERR_CRYPTO = -1000,
	APP_ERR_CRYPTO_INIT = -1001,
	APP_ERR_CRYPTO_ENCRYPT = -1002,
	APP_ERR_CRYPTO_DECRYPT = -1003,
	APP_ERR_CRYPTO_AUTH_FAILED = -1004,
	APP_ERR_CRYPTO_KEY_GEN = -1005,
	APP_ERR_CRYPTO_KEY_IMPORT = -1006,
	APP_ERR_CRYPTO_KEY_EXPORT = -1007,
	APP_ERR_CRYPTO_DERIVE = -1008,
	APP_ERR_CRYPTO_HMAC = -1009,

	/* LoRa/Radio errors (-2000 to -2099) */
	APP_ERR_LORA = -2000,
	APP_ERR_LORA_INIT = -2001,
	APP_ERR_LORA_CONFIG = -2002,
	APP_ERR_LORA_TX = -2003,
	APP_ERR_LORA_RX = -2004,
	APP_ERR_LORA_TIMEOUT = -2005,
	APP_ERR_LORA_BUSY = -2006,

	/* Protocol errors (-3000 to -3099) */
	APP_ERR_PROTOCOL = -3000,
	APP_ERR_PROTOCOL_INVALID_MSG = -3001,
	APP_ERR_PROTOCOL_INVALID_TYPE = -3002,
	APP_ERR_PROTOCOL_INVALID_VERSION = -3003,
	APP_ERR_PROTOCOL_REPLAY_ATTACK = -3004,
	APP_ERR_PROTOCOL_DEVICE_ID_MISMATCH = -3005,
	APP_ERR_PROTOCOL_COUNTER_ROLLOVER = -3006,

	/* Key storage errors (-4000 to -4099) */
	APP_ERR_STORAGE = -4000,
	APP_ERR_STORAGE_INIT = -4001,
	APP_ERR_STORAGE_READ = -4002,
	APP_ERR_STORAGE_WRITE = -4003,
	APP_ERR_STORAGE_NOT_FOUND = -4004,
	APP_ERR_STORAGE_CORRUPTED = -4005,
} app_error_t;

/* ============================================================================
 * Board Role Configuration
 * ============================================================================ */

/**
 * @brief Device role in P2P communication (Preprocessor-compatible definitions)
 *
 * NOTE: These must be #define macros (not enum) to work with preprocessor conditionals (#if).
 * The C preprocessor cannot see enum values - they are replaced with 0 during preprocessing,
 * causing both PING and PONG builds to compile identical code.
 */
#define ROLE_PING  1  /**< Initiator - sends pings, receives pongs */
#define ROLE_PONG  2  /**< Responder - receives pings, sends pongs */

/**
 * @brief Optional enum for runtime type safety
 *
 * This enum provides type checking for runtime code while maintaining
 * preprocessor compatibility via the #define macros above.
 */
typedef enum {
	BOARD_ROLE_PING = ROLE_PING,  /**< Initiator role (value: 1) */
	BOARD_ROLE_PONG = ROLE_PONG,  /**< Responder role (value: 2) */
} board_role_t;

/**
 * @brief Current board role
 *
 * Set via CMake build configuration:
 * -DBOARD_ROLE=1 (PING) or -DBOARD_ROLE=2 (PONG)
 * -DBOARD_ROLE=ROLE_PING or -DBOARD_ROLE=ROLE_PONG (converted by CMake)
 *
 * Defaults to PONG if not specified at build time.
 */
#ifndef BOARD_ROLE
#define BOARD_ROLE  ROLE_PONG   /* Default role if not specified at build time */
#endif

/**
 * @brief Compile-time validation of BOARD_ROLE
 *
 * This check ensures BOARD_ROLE is set to a valid value at compile time.
 * Without this, incorrect values would cause silent failures.
 */
#if (BOARD_ROLE != ROLE_PING) && (BOARD_ROLE != ROLE_PONG)
#error "BOARD_ROLE must be either ROLE_PING (1) or ROLE_PONG (2)"
#endif

/* ============================================================================
 * Device Identity Configuration
 * ============================================================================ */

/**
 * @brief Device IDs for P2P communication
 *
 * Each device in the network must have a unique ID.
 * These IDs are used for message routing and security validation.
 */
#define DEVICE_ID_PING   0x0001  /**< Device ID for PING board */
#define DEVICE_ID_PONG   0x0002  /**< Device ID for PONG board */

/* ============================================================================
 * Feature Flags
 * ============================================================================ */

/**
 * @brief Enable ECDH key exchange
 *
 * When enabled: Uses X25519 ECDH for session key derivation (forward secrecy)
 * When disabled: Falls back to PSK mode (for testing/legacy compatibility)
 */
#ifndef ENABLE_ECDH_KEY_EXCHANGE
#define ENABLE_ECDH_KEY_EXCHANGE  1  /* Enabled by default */
#endif

/**
 * @brief Enable PSK authentication for key exchange
 *
 * When enabled: HMAC-SHA256 authentication prevents MITM attacks during key exchange
 * When disabled: Key exchange is unauthenticated (vulnerable to MITM)
 *
 * @note Only relevant when ENABLE_ECDH_KEY_EXCHANGE is enabled
 */
#ifndef ENABLE_PSK_AUTHENTICATION
#define ENABLE_PSK_AUTHENTICATION  1  /* Enabled by default */
#endif

/**
 * @brief Authentication PSK bytes for ECDH message authentication
 *
 * DEFAULT: hardcoded test key for lab bring-up only.
 *
 * For real deployments, override via build flag:
 *   -DAPP_AUTH_PSK_BYTES='{0x.., ... 32 bytes ...}'
 */
#ifndef APP_AUTH_PSK_BYTES
#define APP_AUTH_PSK_BYTES \
	{ \
		0xFB, 0x9C, 0x81, 0x30, 0x29, 0xEF, 0x2A, 0xBD, \
		0x6E, 0xBC, 0x7E, 0xA6, 0x90, 0x8A, 0x9F, 0x2C, \
		0x77, 0xFA, 0x97, 0x27, 0x5E, 0x6D, 0xE3, 0x68, \
		0x38, 0xF6, 0xFE, 0x46, 0xB9, 0x4B, 0x2D, 0xA9 \
	}
#define APP_AUTH_PSK_IS_DEFAULT_TEST_KEY 1
#endif

/**
 * @brief Enable persistent key storage
 *
 * When enabled: Keys stored in ITS/KMU (survive reboots)
 * When disabled: Volatile keys (lost on reboot, must re-exchange)
 */
#ifndef ENABLE_PERSISTENT_STORAGE
#define ENABLE_PERSISTENT_STORAGE  0  /* Disabled by default (Phase 3 feature) */
#endif

/* ============================================================================
 * Application Parameters
 * ============================================================================ */

/**
 * @brief Ping/Pong test parameters
 */
#define PING_COUNT          100     /**< Number of ping/pong exchanges to perform */
#define PING_INTERVAL_MS    1000    /**< Delay between pings (milliseconds) */
#define PONG_TIMEOUT_MS     3000    /**< How long to wait for pong response (milliseconds) */

/**
 * @brief Key exchange timeout
 */
#define KEY_EXCHANGE_TIMEOUT_MS  10000  /**< Timeout for key exchange handshake (10 seconds) */
#define KEY_EXCHANGE_MAX_RETRIES 3      /**< Maximum key exchange retry attempts */

/**
 * @brief Counter rollover warning threshold
 *
 * When message counter approaches UINT32_MAX, we need to re-key to avoid
 * nonce reuse (which would break AES-CCM security).
 */
#define COUNTER_ROLLOVER_WARNING_THRESHOLD  1000  /**< Warn when counter has 1000 remaining */

/* ============================================================================
 * LoRa Configuration
 * ============================================================================ */

/**
 * @brief LoRa device from device tree
 */
#define DEFAULT_RADIO_NODE DT_ALIAS(lora0)
#define DEFAULT_RADIO DEVICE_DT_GET(DEFAULT_RADIO_NODE)

/**
 * @brief LoRa RF parameters for US 915 MHz band
 */
#define LORA_FREQUENCY      915000000   /**< 915 MHz center frequency */
#define LORA_BANDWIDTH      BW_125_KHZ  /**< 125 kHz bandwidth */
#define LORA_DATARATE       SF_7        /**< Spreading Factor 7 (fastest) */
#define LORA_CODING_RATE    CR_4_5      /**< Coding rate 4/5 */
#define LORA_PREAMBLE_LEN   8           /**< 8 symbol preamble */
#define LORA_TX_POWER       22          /**< +22 dBm output power (maximum) */

/* ============================================================================
 * Protocol Configuration
 * ============================================================================ */

/**
 * @brief Protocol version
 *
 * Version 2: Current protocol with explicit versioning and extensibility flags.
 * Older protocol versions are intentionally rejected by message parsers.
 */
#define PROTOCOL_VERSION   0x02   /**< Current protocol version */

/**
 * @brief Message Types
 */
#define MSG_TYPE_PING          0x50  /**< 'P' - Encrypted ping message */
#define MSG_TYPE_PONG          0x4F  /**< 'O' - Encrypted pong response */
#define MSG_TYPE_KEY_ANNOUNCE  0xA0  /**< Public key announcement */
#define MSG_TYPE_KEY_ACK       0xA1  /**< Key acknowledgment */
#define MSG_TYPE_REKEY         0xA2  /**< Key rotation request (planned for Phase 3) */

/**
 * @brief Message flags (for protocol v2)
 */
#define MSG_FLAG_ENCRYPTED     (1 << 0)  /**< Message payload is encrypted */
#define MSG_FLAG_AUTHENTICATED (1 << 1)  /**< Message includes HMAC authentication */
#define MSG_FLAG_REKEY_REQUEST (1 << 2)  /**< Sender requests key rotation */

/* ============================================================================
 * Cryptography Configuration
 * ============================================================================ */

/**
 * @brief AES-CCM parameters
 */
#define AES_CCM_NONCE_SIZE    12  /**< 96-bit nonce (CCM standard) */
#define AES_CCM_TAG_SIZE      16  /**< 128-bit authentication tag */
#define AES_KEY_SIZE_BITS     128 /**< 128-bit AES key */
#define AES_KEY_SIZE_BYTES    16  /**< 128-bit = 16 bytes */

/**
 * @brief ECDH parameters
 */
#define ECDH_PUBLIC_KEY_SIZE  32  /**< X25519 public key size (32 bytes) */
#define ECDH_PRIVATE_KEY_BITS 255 /**< Curve25519 = 255 bits */

/**
 * @brief HMAC parameters
 */
#define HMAC_KEY_SIZE_BITS    256 /**< 256-bit HMAC key */
#define HMAC_KEY_SIZE_BYTES   32  /**< 256-bit = 32 bytes */
#define HMAC_TAG_SIZE         32  /**< 256-bit HMAC-SHA256 tag */

/**
 * @brief Key storage IDs (for persistent storage)
 */
#define PSA_KEY_ID_SESSION       1  /**< Session key (AES-128) */
#define PSA_KEY_ID_ECDH_PRIVATE  2  /**< ECDH private key (X25519) */
#define PSA_KEY_ID_AUTH_PSK      3  /**< Authentication PSK (HMAC) */

/* ============================================================================
 * Logging Configuration
 * ============================================================================ */

/**
 * @brief Module-specific log level control
 *
 * Can be overridden in prj.conf or via Kconfig
 */
#ifndef LOG_LEVEL_CRYPTO
#define LOG_LEVEL_CRYPTO  LOG_LEVEL_INF
#endif

#ifndef LOG_LEVEL_PROTOCOL
#define LOG_LEVEL_PROTOCOL  LOG_LEVEL_INF
#endif

#ifndef LOG_LEVEL_LORA
#define LOG_LEVEL_LORA  LOG_LEVEL_INF
#endif

/* ============================================================================
 * Compile-Time Safety Checks
 * ============================================================================ */

/* Ensure board role is valid */
#if (BOARD_ROLE != ROLE_PING) && (BOARD_ROLE != ROLE_PONG)
#error "BOARD_ROLE must be either ROLE_PING or ROLE_PONG"
#endif

/* Warn if using unauthenticated key exchange */
#if ENABLE_ECDH_KEY_EXCHANGE && !ENABLE_PSK_AUTHENTICATION
#warning "ECDH key exchange without authentication is vulnerable to MITM attacks!"
#warning "Consider enabling ENABLE_PSK_AUTHENTICATION for production use."
#endif

#if ENABLE_PSK_AUTHENTICATION && defined(APP_AUTH_PSK_IS_DEFAULT_TEST_KEY)
#warning "Using built-in DEFAULT TEST PSK. FOR LAB TESTING ONLY."
#warning "For production, override APP_AUTH_PSK_BYTES via build flags or secure provisioning."
#endif

/* Warn if using PSK fallback mode */
#if !ENABLE_ECDH_KEY_EXCHANGE
#warning "ECDH is disabled - using PSK mode (no forward secrecy)"
#warning "This is for testing/legacy compatibility only. Enable ECDH for production."
#endif

#if ENABLE_PERSISTENT_STORAGE
#warning "ENABLE_PERSISTENT_STORAGE is experimental and requires counter persistence/rekey policy."
#endif

/* ============================================================================
 * Utility Macros
 * ============================================================================ */

/**
 * @brief Convert PSA status to app error code
 */
#define PSA_TO_APP_ERROR(psa_status) \
	((psa_status) == PSA_SUCCESS ? APP_OK : APP_ERR_CRYPTO)

/**
 * @brief Check if error is a crypto error
 */
#define IS_CRYPTO_ERROR(err) \
	((err) <= APP_ERR_CRYPTO && (err) > APP_ERR_CRYPTO - 100)

/**
 * @brief Check if error is a LoRa error
 */
#define IS_LORA_ERROR(err) \
	((err) <= APP_ERR_LORA && (err) > APP_ERR_LORA - 100)

/**
 * @brief Check if error is a protocol error
 */
#define IS_PROTOCOL_ERROR(err) \
	((err) <= APP_ERR_PROTOCOL && (err) > APP_ERR_PROTOCOL - 100)

/**
 * @brief Get error category name
 */
static inline const char *app_error_category(app_error_t err)
{
	if (err == APP_OK) return "SUCCESS";
	if (IS_CRYPTO_ERROR(err)) return "CRYPTO";
	if (IS_LORA_ERROR(err)) return "LORA";
	if (IS_PROTOCOL_ERROR(err)) return "PROTOCOL";
	if (err <= APP_ERR_STORAGE && err > APP_ERR_STORAGE - 100) return "STORAGE";
	return "GENERIC";
}

#endif /* APP_CONFIG_H */
```
